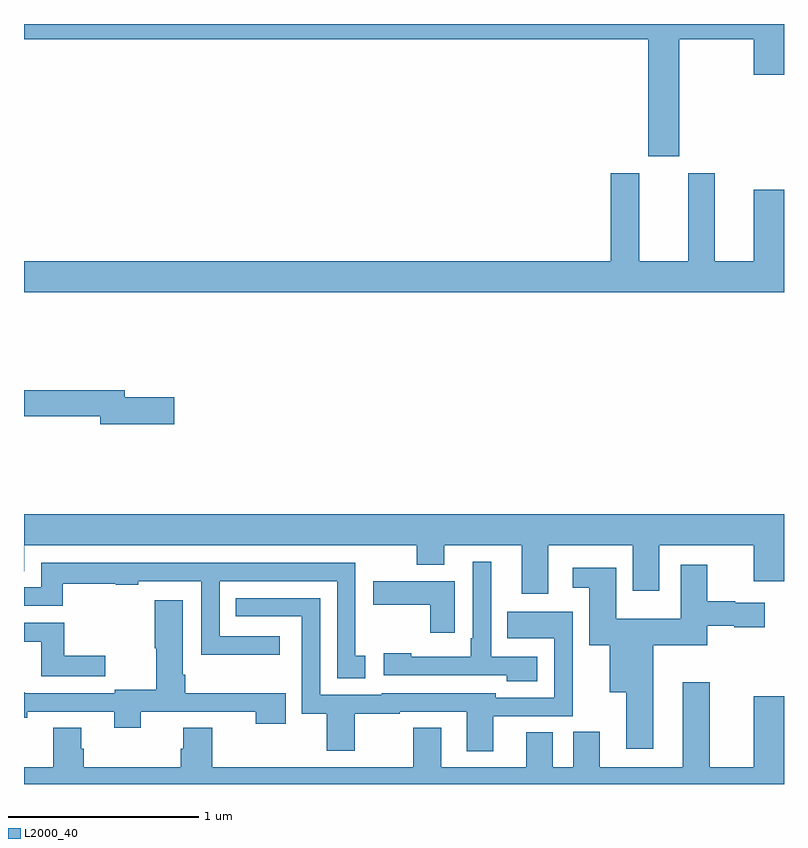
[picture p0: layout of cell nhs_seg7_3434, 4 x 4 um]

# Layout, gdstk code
import gdstk
lib = gdstk.Library(unit=1e-6, precision=1e-09)
def P(c, l, *ps):  # polygons
    for p in ps: c.add(gdstk.Polygon(p, *l))
L2000_40 = (2000, 40)

nhs_seg7_3434 = lib.new_cell('nhs_seg7_3434')
P(nhs_seg7_3434, L2000_40, [(329,1029.92),(332.285,1029.92),(332.285,1029.305),(332.449,1029.305),(332.449,1029.92),(332.84,1029.92),(332.84,1029.732),(333,1029.732),(333,1030),(329,1030)],
  [(333,1029.127),(332.84,1029.127),(332.84,1028.752),(332.635,1028.752),(332.635,1029.214),(332.495,1029.214),(332.495,1028.752),(332.239,1028.752),(332.239,1029.214),(332.087,1029.214),(332.087,1028.752),(329,1028.752),(329,1028.588),(333,1028.588)],
  [(329.791,1028.036),(329.53,1028.036),(329.53,1028.072),(329,1028.072),(329,1027.936),(329.402,1027.936),(329.402,1027.894),(329.791,1027.894)],
  [(331.759,1027.256),(332.204,1027.256),(332.204,1027.017),(332.344,1027.017),(332.344,1027.256),(332.84,1027.256),(332.84,1027.068),(333,1027.068),(333,1027.42),(329,1027.42),(329,1027.12),(329.002,1027.12),(329.002,1027.256),(331.066,1027.256),(331.066,1027.154),(331.213,1027.154),(331.213,1027.256),(331.619,1027.256),(331.619,1027.002),(331.759,1027.002)],
  [(331.702,1026.669),(331.458,1026.669),(331.458,1027.171),(331.362,1027.171),(331.362,1026.766),(331.35,1026.766),(331.35,1026.669),(331.038,1026.669),(331.038,1026.688),(330.894,1026.688),(330.894,1026.573),(331.541,1026.573),(331.541,1026.542),(331.702,1026.542)],
  [(330.796,1026.675),(330.744,1026.675),(330.744,1027.164),(329.091,1027.164),(329.091,1027.035),(329,1027.035),(329,1026.939),(329.203,1026.939),(329.203,1027.055),(329.484,1027.055),(329.484,1027.048),(329.6,1027.048),(329.6,1027.068),(329.934,1027.068),(329.934,1026.68),(330.346,1026.68),(330.346,1026.777),(330.03,1026.777),(330.03,1027.068),(330.648,1027.068),(330.648,1026.556),(330.796,1026.556)],
  [(332.311,1026.731),(332.596,1026.731),(332.596,1026.833),(332.739,1026.833),(332.739,1026.826),(332.899,1026.826),(332.899,1026.955),(332.744,1026.955),(332.744,1026.963),(332.596,1026.963),(332.596,1027.153),(332.456,1027.153),(332.456,1026.871),(332.116,1026.871),(332.116,1027.138),(331.887,1027.138),(331.887,1027.034),(331.976,1027.034),(331.976,1026.731),(332.084,1026.731),(332.084,1026.482),(332.171,1026.482),(332.171,1026.186),(332.311,1026.186)],
  [(331.267,1027.066),(330.837,1027.066),(330.837,1026.944),(331.138,1026.944),(331.138,1026.795),(331.267,1026.795)],
  [(331.471,1026.357),(331.889,1026.357),(331.889,1026.907),(331.543,1026.907),(331.543,1026.767),(331.791,1026.767),(331.791,1026.453),(331.482,1026.453),(331.482,1026.477),(330.882,1026.477),(330.882,1026.471),(330.558,1026.471),(330.558,1026.978),(330.115,1026.978),(330.115,1026.882),(330.462,1026.882),(330.462,1026.37),(330.593,1026.37),(330.593,1026.174),(330.741,1026.174),(330.741,1026.37),(330.978,1026.37),(330.978,1026.381),(331.331,1026.381),(331.331,1026.173),(331.471,1026.173)],
  [(329.614,1026.381),(330.221,1026.381),(330.221,1026.318),(330.377,1026.318),(330.377,1026.477),(330.269,1026.477),(330.269,1026.478),(329.849,1026.478),(329.849,1026.574),(329.836,1026.574),(329.836,1026.967),(329.689,1026.967),(329.689,1026.714),(329.696,1026.714),(329.696,1026.497),(329.478,1026.497),(329.478,1026.477),(329.004,1026.477),(329.004,1026.482),(329,1026.482),(329,1026.35),(329.016,1026.35),(329.016,1026.381),(329.474,1026.381),(329.474,1026.296),(329.614,1026.296)],
  [(329.428,1026.676),(329.212,1026.676),(329.212,1026.849),(329,1026.849),(329,1026.748),(329.091,1026.748),(329.091,1026.567),(329.428,1026.567)],
  [(333,1026.463),(332.84,1026.463),(332.84,1026.088),(332.608,1026.088),(332.608,1026.535),(332.468,1026.535),(332.468,1026.088),(332.029,1026.088),(332.029,1026.276),(331.89,1026.276),(331.89,1026.088),(331.783,1026.088),(331.783,1026.272),(331.643,1026.272),(331.643,1026.088),(331.195,1026.088),(331.195,1026.295),(331.048,1026.295),(331.048,1026.088),(329.99,1026.088),(329.99,1026.296),(329.837,1026.296),(329.837,1026.186),(329.825,1026.186),(329.825,1026.088),(329.315,1026.088),(329.315,1026.186),(329.302,1026.186),(329.302,1026.296),(329.155,1026.296),(329.155,1026.088),(329,1026.088),(329,1026),(333,1026)])

lib.write_gds('nhs_seg7_3434.gds')
